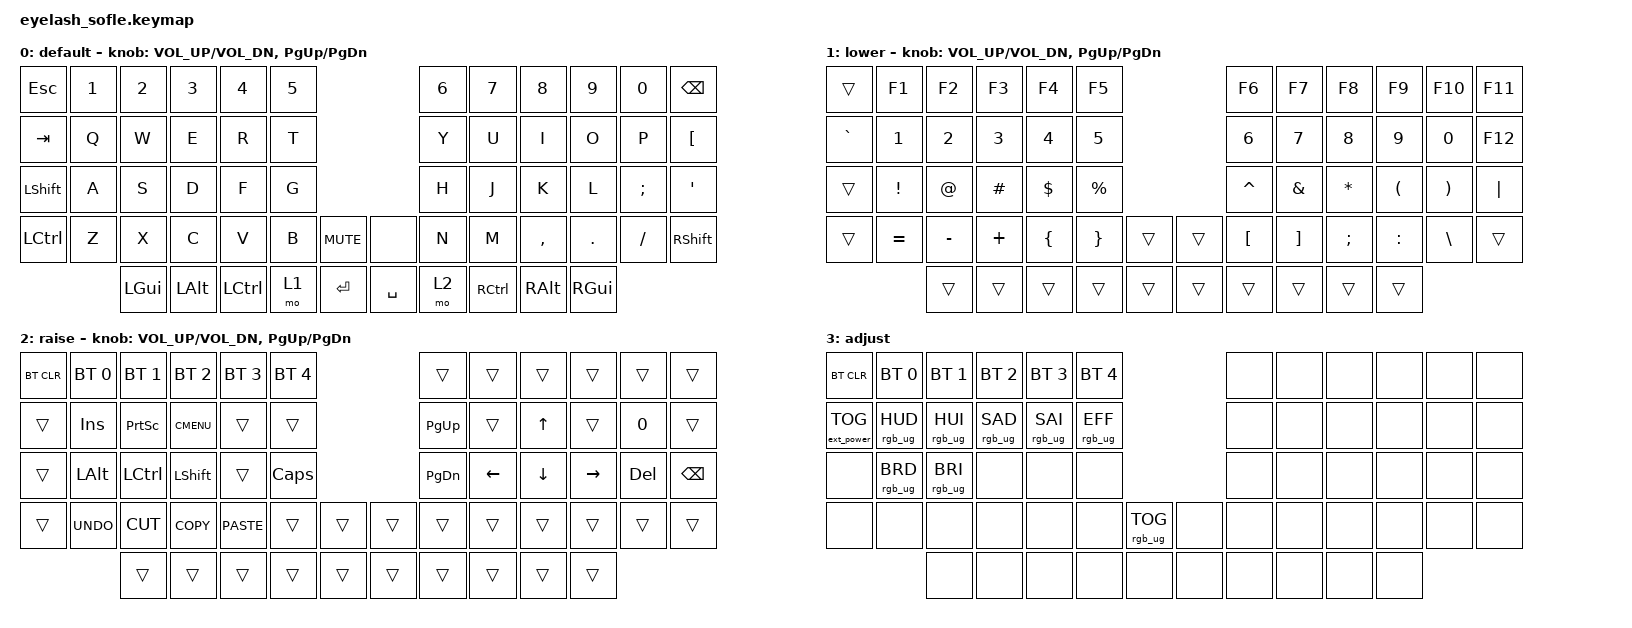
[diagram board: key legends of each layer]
#define ZMK_POINTING_DEFAULT_MOVE_VAL 1500  // default: 600
#define ZMK_POINTING_DEFAULT_SCRL_VAL 20    // default: 10

#include <dt-bindings/zmk/mouse.h>
#include <input/processors.dtsi>
#include <behaviors.dtsi>
#include <dt-bindings/zmk/bt.h>
#include <dt-bindings/zmk/keys.h>
#include <dt-bindings/zmk/pointing.h>
#include <dt-bindings/zmk/pointing.h>
#include <dt-bindings/zmk/rgb.h>
#include <dt-bindings/zmk/ext_power.h>

/*

   &mmv_input_listener {
       input-processors = <&zip_xy_scaler 2 1>;
   };

   &msc_input_listener {
       input-processors = <&zip_xy_scaler 2 1>;
   };

 */

#define ZMK_MOUSE_DEFAULT_MOVE_VAL 1200  // 600
#define ZMK_MOUSE_DEFAULT_SCRL_VAL 20    // 10

/ {
    behaviors {
        mmv {
            acceleration-exponent = <1>;      // 1
            time-to-max-speed-ms = <900>;    // 40
            delay-ms = <0>;                   // 0
        };

        msc {
            acceleration-exponent = <1>;      // 0
            time-to-max-speed-ms = <400>;      // 500
            delay-ms = <0>;                   //   10
        };
    };

    scroll_encoder: scroll_encoder {
        compatible = "zmk,behavior-sensor-rotate";
        #sensor-binding-cells = <0>;
        bindings = <&msc SCRL_DOWN>, <&msc SCRL_UP>;

        tap-ms = <30>;
    };

    SandS: SandS {
        compatible = "zmk,behavior-hold-tap";
        label = "SANDS";
        bindings = <&kp>, <&kp>;

        #binding-cells = <2>;
        tapping-term-ms = <200>;
        flavor = "hold-preferred";
        retro-tap;
    };

    keymap {
        compatible = "zmk,keymap";

        default_layer {
            display-name = "default";
// ------------------------------------------------------------------------------------------------------------
// |  ESC  |  1  |  2  |  3   |  4   |  5   |                   |  6   |  7    |  8    |  9   |   0   | BKSPC |
// |  TAB  |  Q  |  W  |  E   |  R   |  T   |                   |  Y   |  U    |  I    |  O   |   P   |   Å   |
// | SHIFT |  A  |  S  |  D   |  F   |  G   |                   |  H   |  J    |  K    |  L   |   Ö   |   Ä   |
// | LCTRL |  Z  |  X  |  C   |  V   |  B   |  MUTE  |  |       |  N   |  M    |  ,    |  .   |   /   | SHIFT |
//               | GUI | ALT  | CTRL | LOWER|  ENTER |  | SPACE | RAISE| CTRL  | ALT   | GUI  |
            bindings = <
&kp ESC &kp N1 &kp N2   &kp N3   &kp N4    &kp N5                           &kp N6 &kp N7    &kp N8    &kp N9   &kp N0   &kp BSPC
&kp TAB   &kp Q  &kp W    &kp E    &kp R     &kp T                            &kp Y  &kp U     &kp I     &kp O    &kp P    &kp LBKT
&kp LSHIFT   &kp A  &kp S    &kp D    &kp F     &kp G                            &kp H  &kp J     &kp K     &kp L    &kp SEMI &kp SQT
&kp LCTRL &kp Z  &kp X    &kp C    &kp V     &kp B      &kp C_MUTE &none      &kp N  &kp M     &kp COMMA &kp DOT  &kp FSLH &kp RSHFT
                 &kp LGUI &kp LALT &kp LCTRL &mo 1  &kp RET    &kp SPACE  &mo 2  &kp RCTRL &kp RALT  &kp RGUI
            >;

            sensor-bindings = <&inc_dec_kp C_VOL_UP C_VOL_DN &inc_dec_kp PG_UP PG_DN>;
        };

        lower_layer {
            display-name = "lower";
// TODO: Some binds are waiting for shifted keycode support.
// ------------------------------------------------------------------------------------------------------------
// |       |  F1 |  F2 |  F3  |  F4  |  F5  |                   |  F6  |  F7   |  F8   |  F9  |  F10  |  F11  |
// |   `   |  1  |  2  |  3   |  4   |  5   |                   |  6   |  7    |  8    |  9   |   0   |  F12  |
// |       |  !  |  @  |  #   |  $   |  %   |                   |  ^   |  &    |  *    |  (   |   )   |   |   |
// |       |  =  |  -  |  +   |  {   |  }   |        |  |       |  [   |  ]    |  ;    |  :   |   \   |       |
//               |     |      |      |      |        |  |       |      |       |       |      |
            bindings = <
&trans    &kp F1    &kp F2    &kp F3      &kp F4    &kp F5                    &kp F6    &kp F7   &kp F8    &kp F9    &kp F10   &kp F11
&kp GRAVE &kp N1    &kp N2    &kp N3      &kp N4    &kp N5                    &kp N6    &kp N7   &kp N8    &kp N9    &kp N0    &kp F12
&trans    &kp EXCL  &kp AT    &kp HASH    &kp DLLR  &kp PRCNT                 &kp CARET &kp AMPS &kp ASTRK &kp LPAR  &kp RPAR  &kp PIPE
&trans    &kp EQUAL &kp MINUS &kp PLUS &kp LBRC  &kp RBRC   &trans &trans  &kp LBKT  &kp RBKT &kp SEMI  &kp COLON &kp BSLH  &trans
                    &trans    &trans      &trans    &trans     &trans &trans  &trans    &trans   &trans    &trans
            >;

            sensor-bindings = <&inc_dec_kp C_VOL_UP C_VOL_DN &inc_dec_kp PG_UP PG_DN>;
        };

        raise_layer {
            display-name = "raise";
// ------------------------------------------------------------------------------------------------------------
// | BTCLR | BT1  | BT2  |  BT3  |  BT4  |  BT5 |                |      |      |       |      |       |       |
// |       | INS  | PSCR | GUI   |       |      |                | PGUP |      |   ^   |      |       |       |
// |       | ALT  | CTRL | SHIFT |       | CAPS |                | PGDN |   <- |   v   |  ->  |  DEL  | BKSPC |
// |       | UNDO | CUT  | COPY  | PASTE |      |      |  |      |      |      |       |      |       |       |
//                |      |       |       |      |      |  |      |      |      |       |      |
            bindings = <
&bt BT_CLR &bt BT_SEL 0 &bt BT_SEL 1 &bt BT_SEL 2 &bt BT_SEL 3 &bt BT_SEL 4                  &trans    &trans    &trans   &trans    &trans  &trans
&trans     &kp INS      &kp PSCRN    &kp K_CMENU  &trans       &trans                        &kp PG_UP &trans    &kp UP   &trans    &kp N0  &trans
&trans     &kp LALT     &kp LCTRL    &kp LSHFT    &trans       &kp CLCK                      &kp PG_DN &kp LEFT  &kp DOWN &kp RIGHT &kp DEL &kp BSPC
&trans     &kp K_UNDO   &kp K_CUT    &kp K_COPY   &kp K_PASTE  &trans        &trans  &trans  &trans    &trans    &trans   &trans    &trans  &trans
                        &trans       &trans       &trans       &trans        &trans  &trans  &trans    &trans    &trans   &trans
            >;

            sensor-bindings = <&inc_dec_kp C_VOL_UP C_VOL_DN &inc_dec_kp PG_UP PG_DN>;
        };

        adjust_layer {
// ----------------------------------------------------------------------------------------------------------------------------
// | BTCLR  |  BT1    |  BT2    |   BT3   |   BT4   |   BT5   |                  |      |      |       |      |       |       |
// | EXTPWR | RGB_HUD | RGB_HUI | RGB_SAD | RGB_SAI | RGB_EFF |                  |      |      |       |      |       |       |
// |        | RGB_BRD | RGB_BRI |         |         |         |                  |      |      |       |      |       |       |
// |        |         |         |         |         |         | RGB_TOG | |      |      |      |       |      |       |       |
//                    |         |         |         |         |         | |      |      |      |       |      |
            display-name = "adjust";
            bindings = <
&bt BT_CLR        &bt BT_SEL 0    &bt BT_SEL 1    &bt BT_SEL 2    &bt BT_SEL 3    &bt BT_SEL 4                            &none &none &none &none &none &none
&ext_power EP_TOG &rgb_ug RGB_HUD &rgb_ug RGB_HUI &rgb_ug RGB_SAD &rgb_ug RGB_SAI &rgb_ug RGB_EFF                         &none &none &none &none &none &none
&none             &rgb_ug RGB_BRD &rgb_ug RGB_BRI &none           &none           &none                                   &none &none &none &none &none &none
&none             &none           &none           &none           &none           &none            &rgb_ug RGB_TOG &none  &none &none &none &none &none &none
                                  &none           &none           &none           &none            &none           &none  &none &none &none &none
            >;
        };

    };
};
